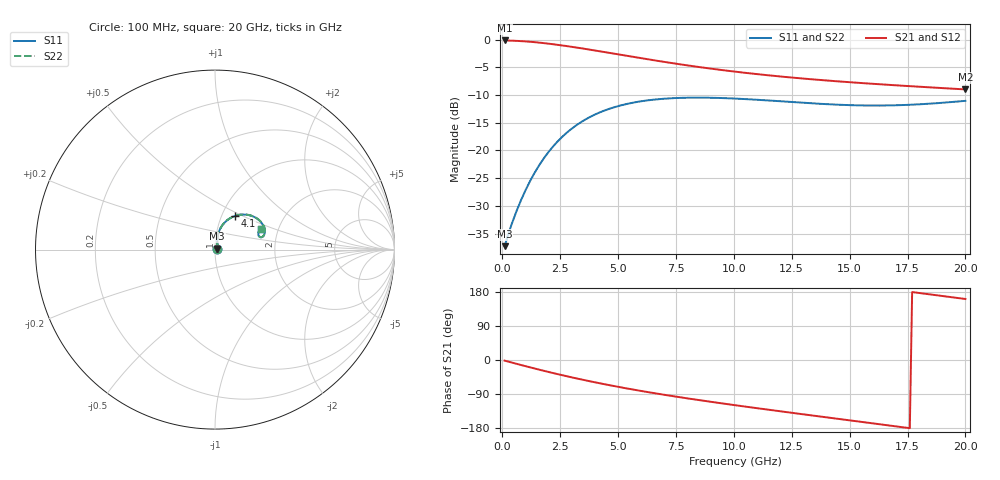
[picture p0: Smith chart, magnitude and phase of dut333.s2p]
! Touchstone file exported from HFSS 2024.1.0
!  File:  C:/UserFiles/LocalFiles/RDL_TSV_Batchsim/temp_RDL_TSV_333_1779632840.aedt
!  Generated:  10:40:02 PM May 24, 2026
!  Design:  RDL_TSV
!  Project:  temp_RDL_TSV_333_1779632840
!  Setup:  Setup1
!  Solution:  Sweep
! Variables:
!  dtsv = 5.95um
!  hbump = 3um
!  htsv = 86.69um
!  ldown = 643.19um
!  lrdl = 217.52um
!  p = 40
!  p1 = 51.23um
!  rhole = 10um
!  subl = 2799.65um
!  t = 450um
!  tdown = 4.65um
!  trdl = 4.25um
!  viad = 10um
!  wdown = 17.97um
!  wrdl = 28.68um
!  xbump = 18um
# GHz S MA R 50.000000
! Terminal data exported
! Port[1] = TM1_1_T1
! Port[2] = TM1_4_T1
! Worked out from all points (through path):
!   200 points, 100 MHz to 20 GHz, reference 50 ohm
!   highest |S21| = -0.11 dB at 100 MHz (marker M1); lowest = -9.0 dB at 20 GHz (marker M2)
!   group delay of S21, straight-line fit = 26 ps
!   lowest |S11| = -37.3 dB at 100 MHz (marker M3), VSWR 1.03, Z = 51.3 + j0.468 ohm
!   |S11| at or under -10 dB: start of sweep to end of sweep
!   |S22| runs from -37.3 to -10.4 dB; largest |S21 - S12| = 1.1e-14
!   S11 on the Smith chart (normalised r, x): 100 MHz: 1.03, +0.01; 4.1 GHz: 1.15, +0.45; 20 GHz: 1.62, +0.41
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0.1  0.01366 19.5  0.9869 -1.7  0.9869 -1.7  0.01366 19.5
! Gamma 0 0 0 0
! Port Impedance 50 0 50 0
0.4  0.02145 49.9  0.9829 -6.6  0.9829 -6.6  0.02145 49.9
0.8  0.03523 67.9  0.974 -13.1  0.974 -13.1  0.03522 67.9
1.2  0.05296 75.8  0.9606 -19.4  0.9606 -19.4  0.05295 75.8
1.6  0.07393 78.4  0.9434 -25.6  0.9434 -25.6  0.07393 78.5
2  0.09711 78.0  0.9232 -31.6  0.9232 -31.6  0.09713 78.1
2.5  0.1275 75.1  0.8949 -38.9  0.8949 -38.9  0.1275 75.1
3  0.1576 70.8  0.8645 -45.8  0.8645 -45.8  0.1577 70.8
3.5  0.1858 65.8  0.8331 -52.5  0.8331 -52.5  0.186 65.9
4.1  0.2159 59.7  0.795 -60.1  0.795 -60.1  0.2161 59.8
4.7  0.2411 53.8  0.7575 -67.3  0.7575 -67.3  0.2414 53.9
5.3  0.2612 48.1  0.7216 -74.2  0.7216 -74.2  0.2616 48.3
6  0.2786 42.2  0.6821 -81.7  0.6821 -81.7  0.2791 42.3
6.8  0.2916 36.1  0.6409 -89.9  0.6409 -89.9  0.2922 36.2
8.4  0.3005 26.5  0.5713 -104.9  0.5713 -104.9  0.3014 26.6
10.1  0.2943 19.6  0.5143 -119.7  0.5143 -119.7  0.2954 19.6
11.7  0.2813 15.9  0.4732 -132.9  0.4732 -132.9  0.2826 16.0
13.4  0.2666 14.9  0.4393 -146.5  0.4393 -146.5  0.268 14.9
15  0.2569 16.3  0.414 -159.3  0.414 -159.3  0.2583 16.2
16.7  0.2554 19.3  0.3917 -172.8  0.3917 -172.8  0.2566 19.2
18.3  0.2636 22.3  0.3737 174.5  0.3737 174.5  0.2647 22.1
20  0.2809 24.4  0.3565 161.0  0.3565 161.0  0.2818 24.2
